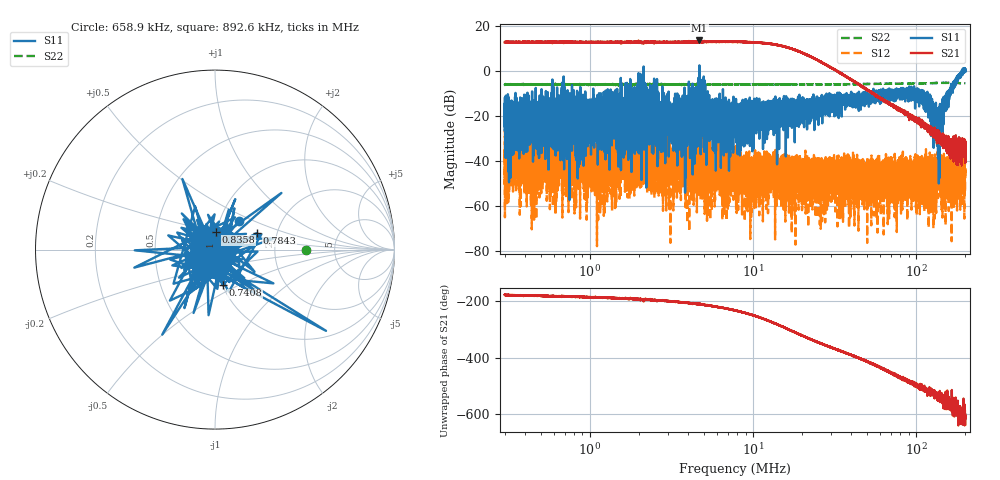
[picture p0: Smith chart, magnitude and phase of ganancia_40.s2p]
# Hz S DB R 50
! CMT, M5065, 19127446, 24.2.4/2
! Date: 11/1/2024 4:38:47 PM
! Data: Format (Calibration Info)
! Freq	S11:dB/Ang(F2)	S21:dB/Ang(F2)	S12:dB/Ang(F2)	S22:dB/Ang(F2)
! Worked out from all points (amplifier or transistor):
!   9000 points, 300 kHz to 200 MHz, reference 50 ohm
!   highest |S21| = 13.7 dB at 4.686 MHz (marker M1)
!   |S21| within 3 dB of that: start of sweep to 15.86 MHz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
!   unconditionally stable (mu >= 1): start of sweep to 1.963 MHz; 2.302 MHz to 4.683 MHz; 4.689 MHz to 189.8 MHz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
!   at 886.8 kHz: K = 16.94, MAG = 14.6 dB, |S12| = -46.7 dB
!   at 7.749 MHz: K = 10.04, MAG = 14.4 dB, |S12| = -41.8 dB
!   at 200 MHz: K = 23.42, MAG = -12.0 dB, |S12| = -41.2 dB
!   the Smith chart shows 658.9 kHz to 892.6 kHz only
!   S11 on the Smith chart (normalised r, x): 658.9 kHz: 1.23, +0.40; 740.8 kHz: 1.00, -0.41; 784.3 kHz: 1.57, +0.31; 835.8 kHz: 0.99, +0.20; 892.6 kHz: 0.79, +0.07
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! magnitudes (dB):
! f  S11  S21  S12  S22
! 300 kHz  -14.6  12.9  -38.0  -5.9
! 333.1 kHz  -23.6  12.9  -43.7  -5.9
! 412 kHz  -18.0  12.9  -48.6  -5.9
! 488.6 kHz  -19.8  13.0  -40.5  -5.9
! 658.9 kHz  -13.8  12.9  -43.1  -5.9
! 740.8 kHz  -13.9  12.9  -40.0  -5.9
! 784.3 kHz  -12.0  12.7  -44.4  -5.8
! 835.8 kHz  -20.1  12.9  -42.1  -5.8
! 886.8 kHz  -12.3  13.0  -46.7  -5.9
! 892.6 kHz  -18.4  13.0  -46.2  -5.9
! 1.376 MHz  -16.6  12.9  -43.4  -5.8
! 1.91 MHz  -20.2  12.9  -41.0  -5.9
! 2.14 MHz  -17.5  12.8  -38.9  -5.9
! 2.621 MHz  -15.4  12.9  -44.9  -5.9
! 4.686 MHz  2.6  13.7  -43.0  -5.9
! 7.749 MHz  -22.3  13.1  -41.8  -5.8
! 22.91 MHz  -17.3  6.2  -54.6  -5.8
! 67.71 MHz  -9.8  -14.3  -49.8  -5.6
! 108 MHz  -13.4  -23.3  -45.2  -5.4
! 136.2 MHz  -16.4  -29.2  -46.0  -5.2
! 164.3 MHz  -8.2  -33.4  -48.4  -5.2
! 200 MHz  -0.1  -31.9  -41.2  -5.3
